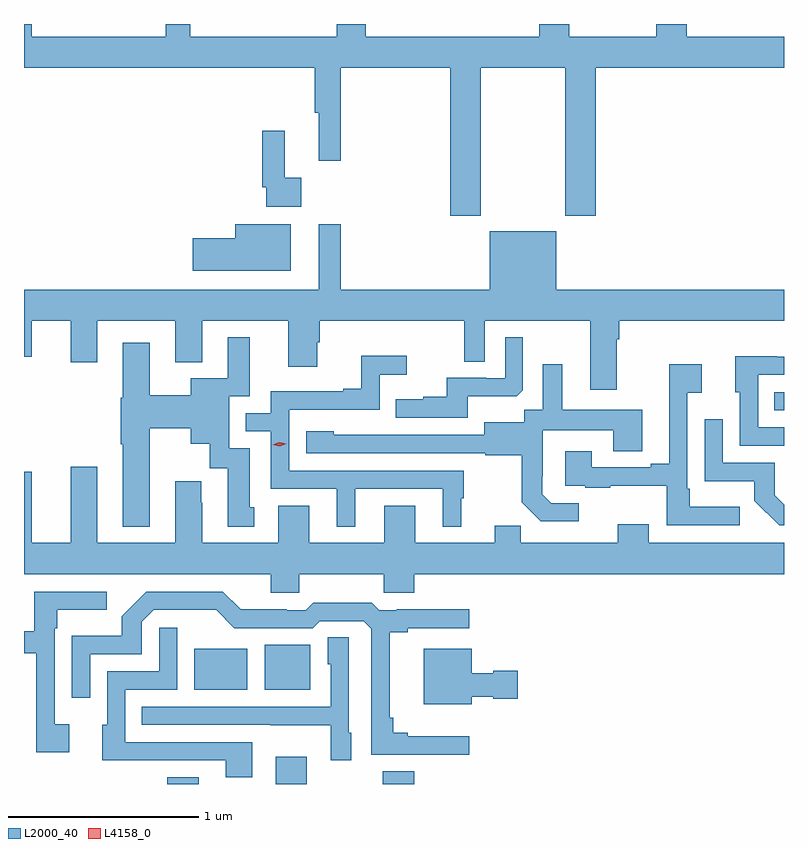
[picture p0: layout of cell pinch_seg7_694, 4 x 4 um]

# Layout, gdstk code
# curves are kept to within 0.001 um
import gdstk
lib = gdstk.Library(unit=1e-6, precision=1e-09)
def R(c, l, rs):  # rectangles x0, y0, x1, y1
    for r in rs: c.add(gdstk.rectangle(r[:2], r[2:], *l))
def P(c, l, *ps):  # polygons
    for p in ps: c.add(gdstk.Polygon(p, *l))
L2000_40 = (2000, 40)
L4158_0 = (4158, 0)

pinch_seg7_694 = lib.new_cell('pinch_seg7_694')
R(pinch_seg7_694, L2000_40, [(285.767,1030.147,285.931,1030.183), (286.337,1030.147,286.501,1030.291), (286.901,1030.147,287.065,1030.213), (285.908,1030.643,286.186,1030.858), (286.28,1030.643,286.519,1030.879), (288.961,1032.114,289.012,1032.21)])
P(pinch_seg7_694, L2000_40, [(285.887,1034.147),(285.757,1034.147),(285.757,1034.08),(285.052,1034.08),(285.052,1034.147),(285.012,1034.147),(285.012,1033.916),(286.543,1033.916),(286.543,1033.68),(286.562,1033.68),(286.562,1033.428),(286.679,1033.428),(286.679,1033.916),(287.255,1033.916),(287.255,1033.137),(287.415,1033.137),(287.415,1033.916),(287.86,1033.916),(287.86,1033.137),(288.02,1033.137),(288.02,1033.916),(289.012,1033.916),(289.012,1034.08),(288.5,1034.08),(288.5,1034.147),(288.34,1034.147),(288.34,1034.08),(287.883,1034.08),(287.883,1034.147),(287.723,1034.147),(287.723,1034.08),(286.811,1034.08),(286.811,1034.147),(286.658,1034.147),(286.658,1034.08),(285.887,1034.08)],
  [(286.471,1033.337),(286.385,1033.337),(286.385,1033.585),(286.267,1033.585),(286.267,1033.288),(286.287,1033.288),(286.287,1033.184),(286.471,1033.184)],
  [(285.012,1032.396),(285.052,1032.396),(285.052,1032.584),(285.257,1032.584),(285.257,1032.366),(285.397,1032.366),(285.397,1032.584),(285.809,1032.584),(285.809,1032.368),(285.949,1032.368),(285.949,1032.584),(286.403,1032.584),(286.403,1032.342),(286.555,1032.342),(286.555,1032.471),(286.568,1032.471),(286.568,1032.584),(287.328,1032.584),(287.328,1032.37),(287.436,1032.37),(287.436,1032.584),(287.993,1032.584),(287.993,1032.222),(288.133,1032.222),(288.133,1032.488),(288.146,1032.488),(288.146,1032.584),(289.012,1032.584),(289.012,1032.748),(287.812,1032.748),(287.812,1033.057),(287.462,1033.057),(287.462,1032.748),(286.679,1032.748),(286.679,1033.093),(286.562,1033.093),(286.562,1032.748),(285.012,1032.748)],
  [(286.417,1033.093),(286.124,1033.093),(286.124,1033.019),(285.9,1033.019),(285.9,1032.848),(286.417,1032.848)],
  [(285.673,1032.02),(285.89,1032.02),(285.89,1031.939),(285.989,1031.939),(285.989,1031.808),(286.085,1031.808),(286.085,1031.502),(286.225,1031.502),(286.225,1031.604),(286.201,1031.604),(286.201,1031.913),(286.092,1031.913),(286.092,1032.189),(286.201,1032.189),(286.201,1032.499),(286.085,1032.499),(286.085,1032.283),(285.89,1032.283),(285.89,1032.192),(285.673,1032.192),(285.673,1032.469),(285.533,1032.469),(285.533,1032.18),(285.521,1032.18),(285.521,1031.936),(285.533,1031.936),(285.533,1031.501),(285.673,1031.501)],
  [(287.347,1032.188),(287.605,1032.188),(287.637,1032.219),(287.637,1032.499),(287.544,1032.499),(287.544,1032.282),(287.444,1032.282),(287.444,1032.285),(287.237,1032.285),(287.237,1032.184),(287.113,1032.184),(287.113,1032.172),(286.969,1032.172),(286.969,1032.075),(287.347,1032.075)],
  [(286.756,1031.7),(287.216,1031.7),(287.216,1031.501),(287.314,1031.501),(287.314,1031.652),(287.326,1031.652),(287.326,1031.796),(286.407,1031.796),(286.407,1032.117),(286.884,1032.117),(286.884,1032.302),(287.026,1032.302),(287.026,1032.401),(286.786,1032.401),(286.786,1032.226),(286.691,1032.226),(286.691,1032.213),(286.311,1032.213),(286.311,1032.099),(286.178,1032.099),(286.178,1032.003),(286.311,1032.003),(286.311,1031.7),(286.658,1031.7),(286.658,1031.501),(286.756,1031.501)],
  [(289.012,1032.024),(288.876,1032.024),(288.876,1032.3),(289.012,1032.3),(289.012,1032.396),(288.973,1032.396),(288.973,1032.398),(288.755,1032.398),(288.755,1032.21),(288.78,1032.21),(288.78,1031.928),(289.012,1031.928)],
  [(287.932,1031.625),(287.787,1031.625),(287.74,1031.672),(287.74,1031.767),(287.742,1031.767),(287.742,1032.008),(288.113,1032.008),(288.113,1031.899),(288.265,1031.899),(288.265,1032.118),(287.845,1032.118),(287.845,1032.355),(287.741,1032.355),(287.741,1032.116),(287.646,1032.116),(287.646,1032.052),(287.435,1032.052),(287.435,1031.985),(286.641,1031.986),(286.641,1032.004),(286.497,1032.004),(286.497,1031.889),(287.439,1031.889),(287.439,1031.877),(287.631,1031.877),(287.631,1031.631),(287.731,1031.531),(287.932,1031.531)],
  [(288.778,1031.605),(288.517,1031.605),(288.517,1031.701),(288.504,1031.701),(288.504,1032.206),(288.58,1032.206),(288.58,1032.355),(288.407,1032.355),(288.407,1031.833),(288.311,1031.833),(288.311,1031.814),(288.001,1031.814),(288.001,1031.899),(287.861,1031.899),(287.861,1031.718),(287.965,1031.718),(287.965,1031.706),(288.097,1031.706),(288.097,1031.717),(288.396,1031.717),(288.396,1031.508),(288.778,1031.508)],
  [(289.012,1031.618),(288.963,1031.667),(288.963,1031.838),(288.69,1031.838),(288.69,1032.067),(288.594,1032.067),(288.594,1031.741),(288.856,1031.741),(288.856,1031.639),(288.986,1031.508),(289.012,1031.508)],
  [(286.513,1031.611),(286.349,1031.611),(286.349,1031.416),(285.949,1031.416),(285.949,1031.627),(285.946,1031.627),(285.946,1031.74),(285.809,1031.74),(285.809,1031.416),(285.397,1031.416),(285.397,1031.818),(285.257,1031.818),(285.257,1031.416),(285.052,1031.416),(285.052,1031.791),(285.012,1031.791),(285.012,1031.252),(286.31,1031.252),(286.31,1031.154),(286.461,1031.154),(286.461,1031.252),(286.906,1031.252),(286.906,1031.154),(287.066,1031.154),(287.066,1031.252),(289.012,1031.252),(289.012,1031.416),(288.301,1031.416),(288.301,1031.515),(288.137,1031.515),(288.137,1031.416),(287.627,1031.416),(287.627,1031.507),(287.489,1031.507),(287.489,1031.416),(287.071,1031.416),(287.071,1031.611),(286.907,1031.611),(286.907,1031.416),(286.513,1031.416)],
  [(287.356,1030.399),(287.032,1030.399),(287.032,1030.418),(286.955,1030.418),(286.955,1030.495),(286.937,1030.495),(286.937,1030.946),(287.032,1030.946),(287.032,1030.968),(287.356,1030.968),(287.356,1031.066),(286.975,1031.066),(286.975,1031.061),(286.881,1031.061),(286.841,1031.101),(286.534,1031.101),(286.494,1031.061),(286.394,1031.061),(286.394,1031.066),(286.154,1031.066),(286.059,1031.16),(285.656,1031.16),(285.526,1031.03),(285.526,1030.927),(285.264,1030.927),(285.264,1030.602),(285.36,1030.602),(285.36,1030.83),(285.633,1030.83),(285.633,1031.001),(285.696,1031.064),(286.025,1031.063),(286.119,1030.968),(286.533,1030.968),(286.569,1031.004),(286.8,1031.004),(286.839,1030.965),(286.839,1030.302),(287.356,1030.302)],
  [(285.25,1030.462),(285.174,1030.462),(285.174,1030.967),(285.187,1030.967),(285.187,1031.063),(285.448,1031.063),(285.448,1031.16),(285.066,1031.16),(285.066,1030.952),(285.012,1030.952),(285.012,1030.836),(285.077,1030.836),(285.077,1030.314),(285.25,1030.314)],
  [(286.213,1030.368),(285.546,1030.368),(285.546,1030.644),(285.819,1030.644),(285.819,1030.969),(285.723,1030.969),(285.723,1030.74),(285.45,1030.74),(285.45,1030.458),(285.425,1030.458),(285.425,1030.271),(285.643,1030.271),(285.643,1030.272),(286.073,1030.272),(286.073,1030.182),(286.213,1030.182)],
  [(286.735,1030.416),(286.722,1030.416),(286.722,1030.919),(286.61,1030.919),(286.61,1030.776),(286.626,1030.776),(286.626,1030.554),(285.631,1030.554),(285.631,1030.458),(286.309,1030.458),(286.309,1030.457),(286.626,1030.457),(286.626,1030.272),(286.735,1030.272)],
  [(287.368,1030.607),(287.481,1030.607),(287.481,1030.595),(287.611,1030.595),(287.611,1030.742),(287.481,1030.742),(287.481,1030.729),(287.368,1030.729),(287.368,1030.858),(287.117,1030.858),(287.117,1030.568),(287.368,1030.568)])
P(pinch_seg7_694, L4158_0, [(286.357,1031.925),(286.322,1031.932),(286.322,1031.932),(286.322,1031.933),(286.356,1031.945),(286.391,1031.937),(286.391,1031.937),(286.391,1031.937)])

lib.write_gds('pinch_seg7_694.gds')
